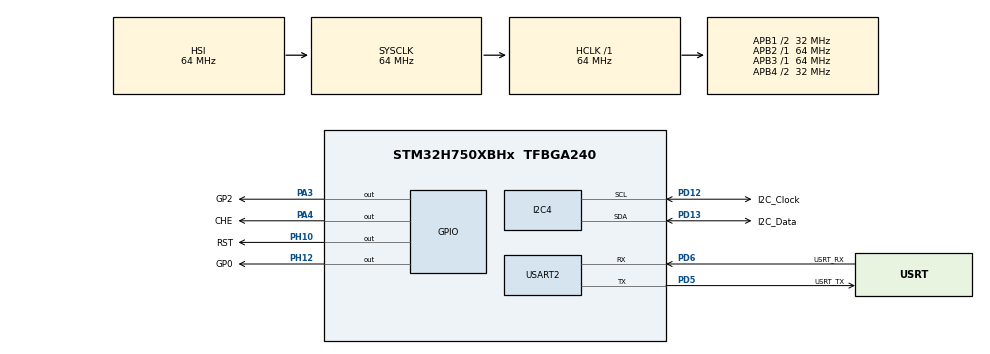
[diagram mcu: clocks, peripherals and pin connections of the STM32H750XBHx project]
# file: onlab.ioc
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I2C4.Timing=0x00707CBB
Mcu.Family=STM32H7
Mcu.Name=STM32H750XBHx
Mcu.Package=TFBGA240
NVIC.PriorityGroup=NVIC_PRIORITYGROUP_4
NVIC.USART2_IRQn=true\:0\:0\:false\:false\:true\:true\:true\:true
PA3.GPIO_Label=GP2
PA3.GPIO_PuPd=GPIO_PULLUP
PA3.PinState=GPIO_PIN_SET
PA3.Signal=GPIO_Output
PA4.GPIO_Label=CHE
PA4.GPIO_PuPd=GPIO_PULLUP
PA4.PinState=GPIO_PIN_SET
PA4.Signal=GPIO_Output
PB10.Signal=USART3_TX
PB11.Signal=USART3_RX
PD12.GPIO_Label=I2C_Clock
PD12.Mode=I2C
PD12.Signal=I2C4_SCL
PD13.GPIO_Label=I2C_Data
PD13.Mode=I2C
PD13.Signal=I2C4_SDA
PD5.GPIO_Label=USRT_TX
PD5.GPIO_ModeDefaultPP=GPIO_MODE_AF_PP
PD5.GPIO_PuPd=GPIO_PULLUP
PD5.Mode=Asynchronous
PD5.Signal=USART2_TX
PD6.GPIO_Label=USRT_RX
PD6.GPIO_PuPd=GPIO_PULLUP
PD6.Mode=Asynchronous
PD6.Signal=USART2_RX
PH10.GPIO_Label=RST
PH10.GPIO_PuPd=GPIO_PULLUP
PH10.PinState=GPIO_PIN_SET
PH10.Signal=GPIO_Output
PH12.GPIO_Label=GP0
PH12.GPIO_PuPd=GPIO_PULLUP
PH12.PinState=GPIO_PIN_SET
PH12.Signal=GPIO_Output
ProjectManager.HeapSize=0x200
ProjectManager.StackSize=0x400
ProjectManager.TargetToolchain=STM32CubeIDE
RCC.ADCFreq_Value=96000000
RCC.APB1Freq_Value=32000000
RCC.APB2Freq_Value=64000000
RCC.APB3Freq_Value=64000000
RCC.APB4Freq_Value=32000000
RCC.CortexFreq_Value=64000000
RCC.D2PPRE1=RCC_APB1_DIV2
RCC.D3PPRE=RCC_APB4_DIV2
RCC.DIVM1=22
RCC.DIVM2=2
RCC.DIVN1=169
RCC.DIVN2=12
RCC.DIVP2=4
RCC.DIVQ1=4
RCC.HCLKFreq_Value=64000000
RCC.PLL2FRACN=0
RCC.PLL3FRACN=0
RCC.PLLFRACN=0
RCC.SYSCLKFreq_VALUE=64000000
RCC.USBFreq_Value=122909090.9090909
USART2.VirtualMode-Asynchronous=VM_ASYNC
board=STM32H750B-DK

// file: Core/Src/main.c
/* USER CODE BEGIN Header */
/**
  ******************************************************************************
  * @file           : main.c
  * @brief          : Main program body
  ******************************************************************************
  * @attention
  *
  * Copyright (c) 2023 STMicroelectronics.
  * All rights reserved.
  *
  * This software is licensed under terms that can be found in the LICENSE file
  * in the root directory of this software component.
  * If no LICENSE file comes with this software, it is provided AS-IS.
  *
  ******************************************************************************
  */
/* USER CODE END Header */
#include "main.h"

/* USER CODE BEGIN Includes */
#include <stdbool.h>
#include <stdio.h>
#include <string.h>
#include <sht3x.h>
/* USER CODE END Includes */

/* USER CODE BEGIN PD */
#define RECEIVED_MESSAGE_SIZE 512	// Max size for ESP message
#define IP_ADDRESS "192.168.1.249"	// Server IP Address
#define PORT "9999"					// Server Port number
// AT command for connecting to server
#define SERVER_CONNECT "AT+CIPSTART=\"TCP\",\""IP_ADDRESS"\","PORT"\r\n"
#define WIFI_SSID "Telekom-2D6325"	// Local WIFI SSID
#define WIFI_PASS "4njteenm6s7cx4cb"// Local WIFI password
// AT command for connecting to wifi
#define WIFI_CONNECT "AT+CWJAP=\""WIFI_SSID"\",\""WIFI_PASS"\"\r\n"
/* USER CODE END PD */

I2C_HandleTypeDef hi2c4;
UART_HandleTypeDef huart2;

/* USER CODE BEGIN PV */
uint8_t rx_buffer;	// Global variable for UART callback func.
// Buffer to receive ESP messages
uint8_t received_message[RECEIVED_MESSAGE_SIZE] = {'\0'};
// Variables to store received sensor readings
float humidity = 0;
float temperature = 0;
// enum for FSM, controlls the program
enum state {	STATE_CONNECT_WIFI, STATE_CONNECT_SERVER, STATE_SEND_CIPSEND, STATE_SEND_DATA,
				STATE_SEND_ATE0, STATE_READY, STATE_ERROR, STATE_CONFIG};
// Global state variable
enum state current_state = STATE_READY;
// Sensor handle
sht3x_handle_t sht31 = {&hi2c4, SHT3X_I2C_DEVICE_ADDRESS_ADDR_PIN_LOW};
/* USER CODE END PV */

void SystemClock_Config(void);
static void MX_GPIO_Init(void);
static void MX_USART2_UART_Init(void);
static void MX_I2C4_Init(void);
/* USER CODE BEGIN PFP */

// UART Rx IRQ Callback func. Stores received data into received_message buffer
void HAL_UART_RxCpltCallback(UART_HandleTypeDef *huart);

/* Finite State Machine to control states of program for example connecting to WIFI/Server,
 * Sending data, reading Sensor etc. */
enum state FSM(enum state current_state);

/* Used to receive message from ESP when delay is supected.
 * Waits until received_message contains array or until 5 seconds has
 * passed since calling or the function. Returns true if received_message
 * contains array string, returns false if 5 seconds has passed. */
bool AT_halt_until(const char *array);

/* Sends str string through UART to ESP and waits for response
 * defined in resp string. If transmit was successful and response
 * matches resp, return true, if response wasn't resp or 5 seconds
 * have passed, returns false. */
bool send_string(const char *str, const char *resp);

/* Configures ESP CIPMODE and CWMODE accordingly. Returns true if successful
 * configuration, returns false if configuration failed.*/
bool AT_config(void);
/* USER CODE END PFP */

int main(void)
{

  /* MCU Configuration--------------------------------------------------------*/

  /* Reset of all peripherals, Initializes the Flash interface and the Systick. */
  HAL_Init();

  /* Configure the system clock */
  SystemClock_Config();

  /* USER CODE BEGIN SysInit */
  SysTick_Config(SystemCoreClock/1000);	// Configure SysTick to IRQ every millisecond
  // Set IRQ priorities 0 is highest priority
  HAL_NVIC_SetPriority(SysTick_IRQn, 1, 0);
  // Incoming data always need to be handles -> highest priority!
  HAL_NVIC_SetPriority(USART2_IRQn, 0, 0);
  /* USER CODE END SysInit */

  /* Initialize all configured peripherals */
  MX_GPIO_Init();
  MX_USART2_UART_Init();
  MX_I2C4_Init();
  /* USER CODE BEGIN 2 */
  // Initialise Sensor
  bool ok = sht3x_init(&sht31);
  if(!ok)
	  return 0;
  ok = sht3x_set_header_enable(&sht31, false);
  if(!ok)
  	  return 0;
  HAL_Delay(1000);	// Wait for Sensor to properly setup
  /* USER CODE END 2 */

  /* Infinite loop */
  /* USER CODE BEGIN WHILE */
  // Always store previous state
  enum state prev_state;
  // Counts how many times has the program been in the same state consequently
  uint8_t error_counter = 0;
  while (1) {
	  // Consider being stuck in same state 5 times as error
	  if(error_counter == 5)
		  current_state = STATE_ERROR;
	  prev_state = current_state;
	  // Handle algorithm for current state and save the new state
	  current_state = FSM(current_state);
	  // New program state, reset ESP message buffer to prevent overflow and
	  // mixing of responses
	  if(prev_state != current_state){
		  memset(received_message, '\0', strlen((char*) received_message));
		  error_counter = 0;	// REset error counter
	  }
	  else
		  error_counter++;	// State hasn't changed
	  // If ESP is busy wait 1 second and try again
	  if(strstr((char*)received_message, "busy"))
		  HAL_Delay(1000);

  }
    /* USER CODE END WHILE */

    /* USER CODE BEGIN 3 */
  return 0;
  /* USER CODE END 3 */
}

void SystemClock_Config(void)
{
  RCC_OscInitTypeDef RCC_OscInitStruct = {0};
  RCC_ClkInitTypeDef RCC_ClkInitStruct = {0};

  /** Supply configuration update enable
  */
  HAL_PWREx_ConfigSupply(PWR_LDO_SUPPLY);

  /** Configure the main internal regulator output voltage
  */
  __HAL_PWR_VOLTAGESCALING_CONFIG(PWR_REGULATOR_VOLTAGE_SCALE3);

  while(!__HAL_PWR_GET_FLAG(PWR_FLAG_VOSRDY)) {}

  /** Initializes the RCC Oscillators according to the specified parameters
  * in the RCC_OscInitTypeDef structure.
  */
  RCC_OscInitStruct.OscillatorType = RCC_OSCILLATORTYPE_HSI;
  RCC_OscInitStruct.HSIState = RCC_HSI_DIV1;
  RCC_OscInitStruct.HSICalibrationValue = RCC_HSICALIBRATION_DEFAULT;
  RCC_OscInitStruct.PLL.PLLState = RCC_PLL_NONE;
  if (HAL_RCC_OscConfig(&RCC_OscInitStruct) != HAL_OK)
  {
    Error_Handler();
  }

  /** Initializes the CPU, AHB and APB buses clocks
  */
  RCC_ClkInitStruct.ClockType = RCC_CLOCKTYPE_HCLK|RCC_CLOCKTYPE_SYSCLK
                              |RCC_CLOCKTYPE_PCLK1|RCC_CLOCKTYPE_PCLK2
                              |RCC_CLOCKTYPE_D3PCLK1|RCC_CLOCKTYPE_D1PCLK1;
  RCC_ClkInitStruct.SYSCLKSource = RCC_SYSCLKSOURCE_HSI;
  RCC_ClkInitStruct.SYSCLKDivider = RCC_SYSCLK_DIV1;
  RCC_ClkInitStruct.AHBCLKDivider = RCC_HCLK_DIV1;
  RCC_ClkInitStruct.APB3CLKDivider = RCC_APB3_DIV1;
  RCC_ClkInitStruct.APB1CLKDivider = RCC_APB1_DIV2;
  RCC_ClkInitStruct.APB2CLKDivider = RCC_APB2_DIV1;
  RCC_ClkInitStruct.APB4CLKDivider = RCC_APB4_DIV2;

  if (HAL_RCC_ClockConfig(&RCC_ClkInitStruct, FLASH_LATENCY_1) != HAL_OK)
  {
    Error_Handler();
  }
}

static void MX_I2C4_Init(void)
{

  hi2c4.Instance = I2C4;
  hi2c4.Init.Timing = 0x00707CBB;
  hi2c4.Init.OwnAddress1 = 0;
  hi2c4.Init.AddressingMode = I2C_ADDRESSINGMODE_7BIT;
  hi2c4.Init.DualAddressMode = I2C_DUALADDRESS_DISABLE;
  hi2c4.Init.OwnAddress2 = 0;
  hi2c4.Init.OwnAddress2Masks = I2C_OA2_NOMASK;
  hi2c4.Init.GeneralCallMode = I2C_GENERALCALL_DISABLE;
  hi2c4.Init.NoStretchMode = I2C_NOSTRETCH_DISABLE;
  if (HAL_I2C_Init(&hi2c4) != HAL_OK)
  {
    Error_Handler();
  }

  /** Configure Analogue filter
  */
  if (HAL_I2CEx_ConfigAnalogFilter(&hi2c4, I2C_ANALOGFILTER_ENABLE) != HAL_OK)
  {
    Error_Handler();
  }

  /** Configure Digital filter
  */
  if (HAL_I2CEx_ConfigDigitalFilter(&hi2c4, 0) != HAL_OK)
  {
    Error_Handler();
  }

}

static void MX_USART2_UART_Init(void)
{

  huart2.Instance = USART2;
  huart2.Init.BaudRate = 115200;
  huart2.Init.WordLength = UART_WORDLENGTH_8B;
  huart2.Init.StopBits = UART_STOPBITS_1;
  huart2.Init.Parity = UART_PARITY_NONE;
  huart2.Init.Mode = UART_MODE_TX_RX;
  huart2.Init.HwFlowCtl = UART_HWCONTROL_NONE;
  huart2.Init.OverSampling = UART_OVERSAMPLING_16;
  huart2.Init.OneBitSampling = UART_ONE_BIT_SAMPLE_DISABLE;
  huart2.Init.ClockPrescaler = UART_PRESCALER_DIV1;
  huart2.AdvancedInit.AdvFeatureInit = UART_ADVFEATURE_NO_INIT;
  if (HAL_UART_Init(&huart2) != HAL_OK)
  {
    Error_Handler();
  }
  if (HAL_UARTEx_SetTxFifoThreshold(&huart2, UART_TXFIFO_THRESHOLD_1_8) != HAL_OK)
  {
    Error_Handler();
  }
  if (HAL_UARTEx_SetRxFifoThreshold(&huart2, UART_RXFIFO_THRESHOLD_1_8) != HAL_OK)
  {
    Error_Handler();
  }
  if (HAL_UARTEx_DisableFifoMode(&huart2) != HAL_OK)
  {
    Error_Handler();
  }
  /* USER CODE BEGIN USART2_Init 2 */
  HAL_UART_Receive_IT(&huart2, &rx_buffer, 1);
  __HAL_UART_ENABLE_IT(&huart2, UART_IT_RXNE);

  /* USER CODE END USART2_Init 2 */

}

static void MX_GPIO_Init(void)
{
  GPIO_InitTypeDef GPIO_InitStruct = {0};

  /* GPIO Ports Clock Enable */
  __HAL_RCC_GPIOD_CLK_ENABLE();
  __HAL_RCC_GPIOB_CLK_ENABLE();
  __HAL_RCC_GPIOH_CLK_ENABLE();
  __HAL_RCC_GPIOA_CLK_ENABLE();

  /*Configure GPIO pin Output Level */
  HAL_GPIO_WritePin(GPIOH, RST_Pin|GP0_Pin, GPIO_PIN_SET);

  /*Configure GPIO pin Output Level */
  HAL_GPIO_WritePin(GPIOA, GP2_Pin|CHE_Pin, GPIO_PIN_SET);

  /*Configure GPIO pins : PB10 PB11 */
  GPIO_InitStruct.Pin = GPIO_PIN_10|GPIO_PIN_11;
  GPIO_InitStruct.Mode = GPIO_MODE_AF_PP;
  GPIO_InitStruct.Pull = GPIO_NOPULL;
  GPIO_InitStruct.Speed = GPIO_SPEED_FREQ_LOW;
  GPIO_InitStruct.Alternate = GPIO_AF7_USART3;
  HAL_GPIO_Init(GPIOB, &GPIO_InitStruct);

  /*Configure GPIO pins : RST_Pin GP0_Pin */
  GPIO_InitStruct.Pin = RST_Pin|GP0_Pin;
  GPIO_InitStruct.Mode = GPIO_MODE_OUTPUT_PP;
  GPIO_InitStruct.Pull = GPIO_PULLUP;
  GPIO_InitStruct.Speed = GPIO_SPEED_FREQ_LOW;
  HAL_GPIO_Init(GPIOH, &GPIO_InitStruct);

  /*Configure GPIO pins : GP2_Pin CHE_Pin */
  GPIO_InitStruct.Pin = GP2_Pin|CHE_Pin;
  GPIO_InitStruct.Mode = GPIO_MODE_OUTPUT_PP;
  GPIO_InitStruct.Pull = GPIO_PULLUP;
  GPIO_InitStruct.Speed = GPIO_SPEED_FREQ_LOW;
  HAL_GPIO_Init(GPIOA, &GPIO_InitStruct);

}

/* USER CODE BEGIN 4 */
void HAL_UART_RxCpltCallback(UART_HandleTypeDef *huart){
	// Store new data in received_message buffer
	strcat((char*)received_message, (char*)&rx_buffer);
	// Re-enable IRQ
	HAL_UART_Receive_IT(&huart2, &rx_buffer,  1);
}

enum state FSM(enum state current_state){
	char data_string[6];
	switch (current_state) {
		/* The starting state. Wait until ESP sends ready string to signal
		 * it is operating. Else signal possible error.*/
		case STATE_READY:
			if(AT_halt_until("ready\r\n"))
				return STATE_SEND_ATE0;
			return STATE_ERROR;
		/* After ESP startup disable echo mode on ESP. */
		case STATE_SEND_ATE0:
			if(send_string("ATE0\r\n", "OK\r\n"))
				return STATE_CONFIG;
			return STATE_ERROR;
		/* Configure ESP so it is able to connect to wifi and server. */
		case STATE_CONFIG:
			if(AT_config())
				return STATE_CONNECT_WIFI;
			return STATE_ERROR;
		/* Try and connect to local wifi. Tries two times! */
		case STATE_CONNECT_WIFI:
			if(send_string(WIFI_CONNECT, "OK\r\n"))
				return STATE_CONNECT_SERVER;
			else if(send_string(WIFI_CONNECT, "OK\r\n"))
				return STATE_CONNECT_SERVER;
			return STATE_ERROR;
		/* Try and connect to server. Tries two times! */
		case STATE_CONNECT_SERVER:
			if(send_string(SERVER_CONNECT, "OK\r\n"))
				return STATE_SEND_CIPSEND;
			else if(send_string(SERVER_CONNECT, "OK\r\n"))
				return STATE_SEND_CIPSEND;
			return STATE_ERROR;
		/* Wifi and server are connected. Prepare ESP to send 5 bytes
		 * of data. Assumes ambient temperature is greater than 10 and lower than 99.95
		 * as it will always result in 5 bytes of data to be sent. Server uses 'q' as
		 * data end character, so xx.xq is always 5 bytes. */
		case STATE_SEND_CIPSEND:
			// If can not receive data presume Sensor has been disconnected
			if(!sht3x_read_temperature_and_humidity(&sht31, &temperature, &humidity))
				return STATE_ERROR;
			if(send_string("AT+CIPSEND=5\r\n", "OK\r\n"))
				return STATE_SEND_DATA;
			else if(send_string("AT+CIPSEND=5\r\n", "OK\r\n"))
				return STATE_SEND_DATA;
			return STATE_ERROR;
		/* Try and send temperature data as characters.Assumes ambient temperature
		 * is greater than 10 and lower than 99.95. This is and infinite cycle in case
		 * of continuous failure to send data. main function handles this case. */
		case STATE_SEND_DATA:
			snprintf(data_string, 5, "%.1f", temperature);
			data_string[4] = 'q';	// End char
			if(send_string(data_string, "OK\r\n")){
				HAL_Delay(1000);
				return STATE_SEND_CIPSEND;
			}
			else
				return STATE_SEND_DATA;
		/* An error has occurred somewhere during running. Try to restore ESP.
		 * If this fails restart MCU. */
		case STATE_ERROR:
			if(send_string("AT+RESTORE\r\n", "ready\r\n"))
				return STATE_CONFIG;
			else
				NVIC_SystemReset();
		}
	return current_state;
}

bool AT_halt_until(const char *array){
	uint32_t start_time = uwTick;	// Save SysTick time upon entry
	  while(1){
		  if((uwTick - start_time) > 5000)// 5 seconds has passed
			  return false;
		  // If ESP is busy wait 1 second
		  if(strstr((char*)received_message, "busy") != NULL)
			  HAL_Delay(1000);
		  if(strstr((char*)received_message, array) != NULL)
			  return true;

	  }
}

bool AT_config(void){
	if(send_string("AT+CIPMODE=0\r\n", "OK\r\n")){
		memset(received_message, '\0', strlen((char*)received_message));
		if(send_string("AT+CWMODE=1\r\n", "OK\r\n"))
			return true;
	}
	return false;
}

bool send_string(const char *str, const char *resp) {
	if(HAL_UART_Transmit(&huart2, (uint8_t*)str, strlen(str), HAL_UART_TIMEOUT_VALUE) != HAL_OK){
		for(int i = 0; i < 3; i ++){ // In case of failure retry 3 times
			if(HAL_UART_Transmit(&huart2, (uint8_t*)str, strlen(str), HAL_UART_TIMEOUT_VALUE) == HAL_OK)
				break;
			else if(i == 2)
				return false;
		}
	}
	return AT_halt_until(resp);
}
/* USER CODE END 4 */

void Error_Handler(void)
{
  __disable_irq();
  while (1)
  {
  }
}
